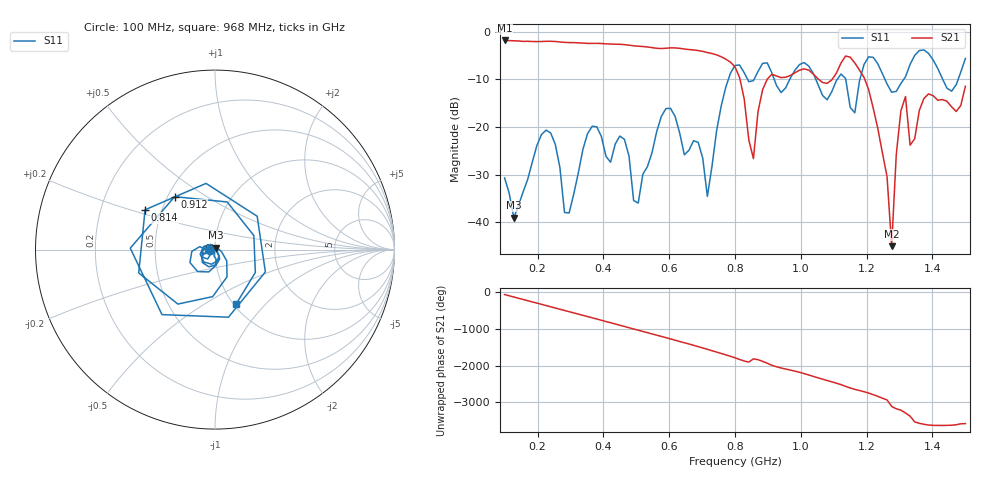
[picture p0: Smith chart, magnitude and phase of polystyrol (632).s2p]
! NanoVNA-App
! Date: 2025-09-25 15:34:48
! Start: 100MHz Stop: 1,5GHz Points: 101
! S-Parameter data: F S11 S21 S12 S22
# Hz S RI R 50
!  Frequency  S11_Real  S11_Imag  S21_Real  S21_Imag  S12_Real  S12_Imag  S22_Real  S22_Imag
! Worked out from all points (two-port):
!   101 points, 100 MHz to 1.5 GHz, reference 50 ohm
!   highest |S21| = -1.80 dB at 100 MHz (marker M1); lowest = -45.1 dB at 1.276 GHz (marker M2)
!   |S21| within 3 dB of the highest: start of sweep to 742.9 MHz
!   lowest |S11| = -39.1 dB at 128 MHz (marker M3), VSWR 1.02, Z = 50.3 + j1.07 ohm
!   |S11| at or under -10 dB: start of sweep to 779.8 MHz; 1.046 GHz to 1.111 GHz (64.86 MHz wide, 6.02 % of centre); 1.256 GHz to 1.312 GHz (56.73 MHz wide, 4.42 % of centre) (the widest 3 of 7)
!   S12 and S22 are empty: the file has one direction only
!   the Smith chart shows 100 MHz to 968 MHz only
!   S11 on the Smith chart (normalised r, x): 100 MHz: 0.94, -0.01; 814 MHz: 0.40, +0.22; 912 MHz: 0.54, +0.37; 968 MHz: 1.03, -0.70
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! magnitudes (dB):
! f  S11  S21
! 100 MHz  -30.7  -1.8
! 128 MHz  -39.1  -1.9
! 212 MHz  -21.6  -2.0
! 282 MHz  -38.0  -2.2
! 338 MHz  -24.7  -2.4
! 464 MHz  -22.6  -2.7
! 506 MHz  -36.0  -3.0
! 576 MHz  -17.8  -3.5
! 716 MHz  -34.6  -4.3
! 800 MHz  -7.0  -7.3
! 814 MHz  -7.0  -9.6
! 856 MHz  -10.3  -26.6
! 912 MHz  -8.6  -8.9
! 968 MHz  -9.7  -9.2
! 1.038 GHz  -8.8  -8.9
! 1.164 GHz  -17.0  -6.5
! 1.192 GHz  -6.8  -9.6
! 1.276 GHz  -12.7  -45.1
! 1.29 GHz  -12.5  -25.8
! 1.318 GHz  -9.4  -13.6
! 1.332 GHz  -6.8  -23.8
! 1.5 GHz  -5.6  -11.4
